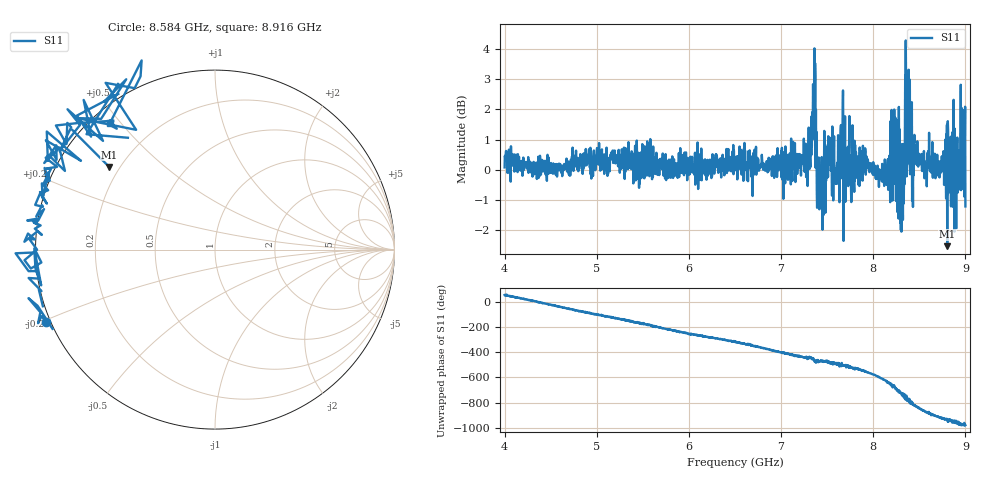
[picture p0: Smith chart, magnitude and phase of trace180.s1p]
! Created with skrf 1.8.0 (http://scikit-rf.org).
# Hz S RI R 50.0
!freq ReS11 ImS11
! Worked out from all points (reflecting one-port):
!   1601 points, 4 GHz to 9 GHz, reference 50 ohm
!   lowest |S11| = -2.5 dB at 8.803 GHz (marker M1), VSWR 6.91, Z = 8.07 + j16.8 ohm
!   phase of S11 starts at 52 deg and turns -1031 deg over the sweep
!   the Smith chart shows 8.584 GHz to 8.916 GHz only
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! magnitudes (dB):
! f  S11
! 4 GHz  0.1
! 4.625 GHz  -0.2
! 5.25 GHz  -0.1
! 5.875 GHz  -0.1
! 6.5 GHz  0.2
! 7.125 GHz  0.5
! 7.294 GHz  0.1
! 7.319 GHz  0.1
! 7.347 GHz  2.8
! 7.372 GHz  3.1
! 7.4 GHz  0.4
! 7.438 GHz  -0.6
! 7.538 GHz  0.6
! 7.609 GHz  0.2
! 7.669 GHz  2.1
! 7.703 GHz  -0.5
! 7.75 GHz  -0.4
! 7.878 GHz  0.5
! 8.094 GHz  -0.4
! 8.253 GHz  0.1
! 8.316 GHz  0.6
! 8.334 GHz  -0.3
! 8.375 GHz  0.2
! 8.447 GHz  1.2
! 8.803 GHz  -2.5
! 8.903 GHz  0.9
! 8.972 GHz  0.5
! 9 GHz  -1.2
